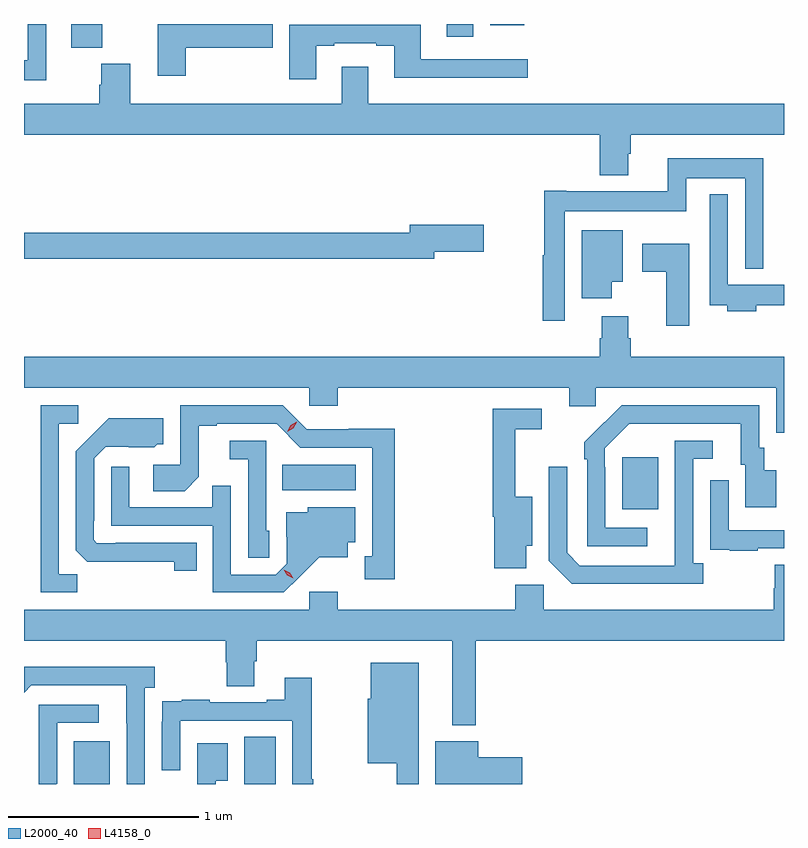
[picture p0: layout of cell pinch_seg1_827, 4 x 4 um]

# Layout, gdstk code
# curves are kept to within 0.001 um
import gdstk
lib = gdstk.Library(unit=1e-6, precision=1e-09)
def R(c, l, rs):  # rectangles x0, y0, x1, y1
    for r in rs: c.add(gdstk.rectangle(r[:2], r[2:], *l))
def P(c, l, *ps):  # polygons
    for p in ps: c.add(gdstk.Polygon(p, *l))
L2000_40 = (2000, 40)
L4158_0 = (4158, 0)

pinch_seg1_827 = lib.new_cell('pinch_seg1_827')
R(pinch_seg1_827, L2000_40, [(483.923,577.619,484.111,577.843), (484.82,577.619,484.984,577.868), (486.809,579.065,486.997,579.34), (485.02,579.164,485.407,579.298), (483.908,581.494,484.072,581.619), (485.885,581.553,486.025,581.619), (486.113,581.612,486.292,581.619)])
P(pinch_seg1_827, L2000_40, [(484.511,581.494),(484.969,581.494),(484.969,581.619),(484.364,581.619),(484.364,581.346),(484.511,581.346)],
  [(483.778,581.619),(483.681,581.619),(483.681,581.428),(483.66,581.428),(483.66,581.324),(483.778,581.324)],
  [(485.197,581.505),(485.293,581.505),(485.293,581.517),(485.513,581.517),(485.513,581.505),(485.609,581.505),(485.609,581.336),(486.31,581.336),(486.31,581.433),(485.749,581.433),(485.749,581.614),(485.057,581.614),(485.057,581.328),(485.197,581.328)],
  [(486.841,580.935),(486.854,580.935),(486.854,581.036),(487.66,581.036),(487.66,581.2),(485.473,581.2),(485.473,581.395),(485.333,581.395),(485.333,581.2),(484.22,581.2),(484.22,581.409),(484.067,581.409),(484.067,581.3),(484.055,581.3),(484.055,581.2),(483.66,581.2),(483.66,581.036),(486.689,581.036),(486.689,580.823),(486.841,580.823)],
  [(486.507,580.634),(487.146,580.634),(487.146,580.808),(487.455,580.808),(487.455,580.331),(487.552,580.331),(487.552,580.912),(487.049,580.912),(487.049,580.738),(486.514,580.738),(486.514,580.741),(486.399,580.741),(486.399,580.401),(486.391,580.401),(486.391,580.056),(486.507,580.056)],
  [(487.514,580.14),(487.66,580.14),(487.66,580.246),(487.365,580.246),(487.365,580.723),(487.269,580.723),(487.269,580.14),(487.361,580.14),(487.361,580.106),(487.514,580.106)],
  [(485.818,580.421),(486.079,580.421),(486.079,580.563),(485.69,580.563),(485.69,580.52),(483.66,580.52),(483.66,580.384),(485.818,580.384)],
  [(486.754,580.262),(486.811,580.262),(486.811,580.534),(486.596,580.534),(486.596,580.176),(486.754,580.176)],
  [(487.162,580.462),(486.915,580.462),(486.915,580.315),(487.04,580.315),(487.04,580.032),(487.162,580.032)],
  [(487.66,579.868),(486.854,579.868),(486.854,579.966),(486.841,579.966),(486.841,580.081),(486.701,580.081),(486.701,579.966),(486.689,579.966),(486.689,579.868),(483.66,579.868),(483.66,579.704),(485.16,579.704),(485.16,579.611),(485.312,579.611),(485.312,579.704),(486.53,579.704),(486.53,579.606),(486.669,579.606),(486.669,579.704),(487.619,579.704),(487.619,579.469),(487.66,579.469)],
  [(486.94,578.967),(486.72,578.967),(486.72,579.287),(486.717,579.287),(486.717,579.387),(486.846,579.516),(487.433,579.516),(487.433,579.3),(487.457,579.3),(487.457,579.075),(487.618,579.075),(487.618,579.271),(487.555,579.271),(487.555,579.39),(487.53,579.39),(487.53,579.612),(486.806,579.612),(486.609,579.417),(486.609,579.329),(486.624,579.329),(486.624,578.871),(486.94,578.871)],
  [(485.611,579.488),(485.37,579.488),(485.37,579.486),(485.148,579.486),(485.022,579.612),(484.482,579.612),(484.482,579.3),(484.341,579.3),(484.341,579.16),(484.505,579.16),(484.581,579.236),(484.581,579.504),(484.675,579.504),(484.675,579.516),(484.989,579.516),(485.115,579.39),(485.492,579.39),(485.492,578.817),(485.453,578.817),(485.453,578.697),(485.611,578.697)],
  [(483.939,578.723),(483.843,578.723),(483.843,579.516),(483.946,579.516),(483.946,579.612),(483.747,579.612),(483.747,578.628),(483.939,578.628)],
  [(486.304,578.873),(486.334,578.873),(486.334,579.13),(486.245,579.13),(486.245,579.486),(486.385,579.486),(486.385,579.594),(486.127,579.594),(486.127,579.026),(486.134,579.026),(486.134,578.754),(486.304,578.754)],
  [(484.568,578.889),(484.144,578.889),(484.144,578.886),(484.044,578.886),(484.026,578.904),(484.026,579.004),(484.029,579.004),(484.029,579.333),(484.089,579.393),(484.346,579.392),(484.362,579.408),(484.393,579.408),(484.393,579.544),(484.105,579.544),(483.933,579.37),(483.933,578.848),(483.992,578.789),(484.45,578.788),(484.45,578.742),(484.568,578.742)],
  [(487.234,578.782),(487.182,578.782),(487.182,579.33),(487.285,579.33),(487.285,579.426),(487.086,579.426),(487.085,578.769),(486.585,578.769),(486.519,578.835),(486.519,579.289),(486.423,579.289),(486.423,578.793),(486.544,578.672),(487.234,578.672)],
  [(484.95,578.952),(484.935,578.952),(484.935,579.426),(484.743,579.426),(484.743,579.329),(484.839,579.329),(484.839,578.809),(484.95,578.809)],
  [(485.11,578.711),(485.213,578.813),(485.365,578.813),(485.365,578.892),(485.404,578.892),(485.404,579.076),(485.154,579.076),(485.154,579.049),(485.039,579.049),(485.039,578.92),(485.043,578.92),(485.043,578.778),(484.986,578.721),(484.749,578.721),(484.749,579.188),(484.651,579.188),(484.651,579.075),(484.215,579.075),(484.215,579.289),(484.119,579.289),(484.119,578.979),(484.653,578.979),(484.653,578.628),(485.026,578.628)],
  [(487.523,578.859),(487.66,578.859),(487.66,578.955),(487.368,578.955),(487.368,579.217),(487.272,579.217),(487.272,578.962),(487.273,578.962),(487.273,578.853),(487.375,578.853),(487.375,578.847),(487.523,578.847)],
  [(486.037,578.372),(487.66,578.372),(487.66,578.774),(487.612,578.774),(487.612,578.649),(487.607,578.649),(487.607,578.536),(486.396,578.536),(486.396,578.668),(486.245,578.668),(486.245,578.536),(485.312,578.536),(485.312,578.632),(485.16,578.632),(485.16,578.536),(483.66,578.536),(483.66,578.372),(484.721,578.372),(484.721,578.259),(484.726,578.259),(484.726,578.134),(484.873,578.134),(484.873,578.266),(484.886,578.266),(484.886,578.372),(485.915,578.372),(485.915,577.928),(486.037,577.928)],
  [(485.737,578.257),(485.486,578.257),(485.486,578.067),(485.468,578.067),(485.468,577.727),(485.623,577.727),(485.623,577.619),(485.737,577.619)],
  [(484.296,578.126),(484.348,578.126),(484.348,578.236),(483.66,578.236),(483.66,578.1),(483.699,578.139),(484.199,578.139),(484.199,577.939),(484.2,577.939),(484.2,577.619),(484.296,577.619)],
  [(485.182,577.644),(485.174,577.644),(485.174,578.179),(485.033,578.179),(485.033,578.062),(484.937,578.062),(484.937,578.049),(484.637,578.049),(484.637,578.062),(484.489,578.062),(484.489,578.055),(484.387,578.055),(484.387,577.946),(484.386,577.946),(484.386,577.692),(484.482,577.692),(484.482,577.953),(485.073,577.953),(485.073,577.619),(485.182,577.619)],
  [(483.831,577.621),(483.834,577.621),(483.834,577.941),(484.054,577.941),(484.054,578.037),(483.738,578.037),(483.738,577.619),(483.831,577.619)],
  [(486.283,577.76),(486.052,577.76),(486.052,577.843),(485.825,577.843),(485.825,577.619),(486.283,577.619)],
  [(484.669,577.637),(484.732,577.637),(484.732,577.834),(484.571,577.834),(484.571,577.619),(484.669,577.619)])
P(pinch_seg1_827, L4158_0, [(485.045,579.473),(485.045,579.474),(485.063,579.506),(485.095,579.525),(485.095,579.525),(485.095,579.524),(485.077,579.492),(485.045,579.473)],
  [(485.076,578.702),(485.045,578.717),(485.028,578.746),(485.028,578.746),(485.028,578.746),(485.059,578.731),(485.076,578.702),(485.076,578.702)])

lib.write_gds('pinch_seg1_827.gds')
